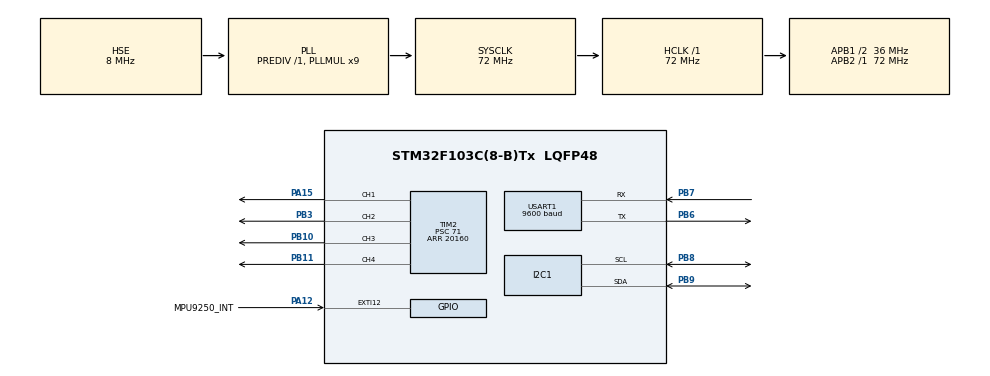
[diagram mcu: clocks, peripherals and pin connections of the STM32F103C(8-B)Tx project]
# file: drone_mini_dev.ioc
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I2C1.I2C_Mode=I2C_Fast
I2C1.OwnAddress=0x68
Mcu.Family=STM32F1
Mcu.Name=STM32F103C(8-B)Tx
Mcu.Package=LQFP48
NVIC.EXTI15_10_IRQn=true\:0\:0\:false\:false\:true\:true\:true\:true
NVIC.PriorityGroup=NVIC_PRIORITYGROUP_4
NVIC.USART1_IRQn=true\:0\:0\:false\:false\:true\:true\:true\:true
PA12.GPIO_Label=MPU9250_INT
PA12.GPIO_ModeDefaultEXTI=GPIO_MODE_IT_RISING
PA12.Signal=GPXTI12
PA13.Mode=Serial_Wire
PA13.Signal=SYS_JTMS-SWDIO
PA14.Mode=Serial_Wire
PA14.Signal=SYS_JTCK-SWCLK
PA15.Signal=S_TIM2_CH1_ETR
PB10.Signal=S_TIM2_CH3
PB11.Signal=S_TIM2_CH4
PB3.Signal=S_TIM2_CH2
PB6.Mode=Asynchronous
PB6.Signal=USART1_TX
PB7.Mode=Asynchronous
PB7.Signal=USART1_RX
PB8.Mode=I2C
PB8.Signal=I2C1_SCL
PB9.Mode=I2C
PB9.Signal=I2C1_SDA
PD0-OSC_IN.Mode=HSE-External-Oscillator
PD0-OSC_IN.Signal=RCC_OSC_IN
PD1-OSC_OUT.Mode=HSE-External-Oscillator
PD1-OSC_OUT.Signal=RCC_OSC_OUT
ProjectManager.HeapSize=0x200
ProjectManager.StackSize=0x400
ProjectManager.TargetToolchain=STM32CubeIDE
RCC.AHBFreq_Value=72000000
RCC.APB1CLKDivider=RCC_HCLK_DIV2
RCC.APB1Freq_Value=36000000
RCC.APB1TimFreq_Value=72000000
RCC.APB2Freq_Value=72000000
RCC.APB2TimFreq_Value=72000000
RCC.HCLKFreq_Value=72000000
RCC.PLLMUL=RCC_PLL_MUL9
RCC.PLLSourceVirtual=RCC_PLLSOURCE_HSE
RCC.SYSCLKFreq_VALUE=72000000
RCC.SYSCLKSource=RCC_SYSCLKSOURCE_PLLCLK
RCC.USBFreq_Value=72000000
SH.S_TIM2_CH1_ETR.0=TIM2_CH1,PWM Generation1 CH1
SH.S_TIM2_CH2.0=TIM2_CH2,PWM Generation2 CH2
SH.S_TIM2_CH3.0=TIM2_CH3,PWM Generation3 CH3
SH.S_TIM2_CH4.0=TIM2_CH4,PWM Generation4 CH4
TIM2.AutoReloadPreload=TIM_AUTORELOAD_PRELOAD_ENABLE
TIM2.Channel-PWM\ Generation1\ CH1=TIM_CHANNEL_1
TIM2.Channel-PWM\ Generation2\ CH2=TIM_CHANNEL_2
TIM2.Channel-PWM\ Generation3\ CH3=TIM_CHANNEL_3
TIM2.Channel-PWM\ Generation4\ CH4=TIM_CHANNEL_4
TIM2.Period=20160
TIM2.Prescaler=71
USART1.BaudRate=9600
USART1.VirtualMode=VM_ASYNC
VP_TIM2_VS_ClockSourceINT.Mode=Internal
board=custom

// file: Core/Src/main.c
/* USER CODE BEGIN Header */
/**
  ******************************************************************************
  * @file           : main.c
  * @brief          : Main program body
  ******************************************************************************
  * @attention
  *
  * Copyright (c) 2024 STMicroelectronics.
  * All rights reserved.
  *
  * This software is licensed under terms that can be found in the LICENSE file
  * in the root directory of this software component.
  * If no LICENSE file comes with this software, it is provided AS-IS.
  *
  ******************************************************************************
  */
/* USER CODE END Header */
#include "main.h"

/* USER CODE BEGIN Includes */
#include <math.h>
#include <stdio.h>
#include <string.h>

/* USER CODE END Includes */

/* USER CODE BEGIN PTD */

enum e_transfer_status
{
	E_NOT_READY_FOR_TRANSFER,
	E_READY_FOR_TRANSFER,
}typedef e_transfer_status;

/* USER CODE END PTD */

/* USER CODE BEGIN PM */

// MPU9250 I2C address
#define MPU9250_ADDRESS 0x68 << 1  // Shifted left to match HAL API requirements

// MPU9250 Register Addresses
#define MPU9250_WHO_AM_I 0x75
#define MPU9250_PWR_MGMT_1 0x6B
#define MPU9250_ACCEL_XOUT_H 0x3B
#define MPU9250_GYRO_XOUT_H 0x43
#define MPU9250_TEMP_OUT_H 0x41

// Configuration registers
#define MPU9250_CONFIG            0x1A
#define MPU9250_GYRO_CONFIG       0x1B
#define MPU9250_ACCEL_CONFIG      0x1C
#define MPU9250_ACCEL_CONFIG_2    0x1D
#define MPU9250_CONFIG            0x1A
#define MPU9250_GYRO_CONFIG       0x1B
#define MPU9250_ACCEL_CONFIG_2    0x1D

// Configuration values
#define DLPF_CFG_184HZ            0x01  // Low pass filter set to 184Hz
#define GYRO_FS_SEL_250DPS        0x00  // Gyro full scale range set to ±250 degrees per second
#define ACCEL_FS_SEL_2G           0x00  // Accelerometer full scale range set to ±2g
#define ACCEL_DLPF_184HZ          0x01  // Accelerometer low pass filter set to 184Hz

// DLPF configuration values
#define DLPF_CFG_5HZ              0x06  // Low pass filter set to 5Hz for gyro
#define ACCEL_DLPF_CFG_5HZ        0x06  // Low pass filter set to 5Hz for accel

#define DLPF_CFG_20HZ             0x04  // Low pass filter set to 20Hz for gyro
#define ACCEL_DLPF_CFG_20HZ       0x04  // Low pass filter set to 20Hz for accel

#define MPU9250_INT_ENABLE         0x38
#define MPU9250_INT_PIN_CFG        0x37
#define MPU9250_INT_DATA_RDY_BIT   0x01

// Define constants
#define RAD_TO_DEG 57.2957795131  // Convert radians to degrees

int16_t Accel_X, Accel_Y, Accel_Z;
int16_t Gyro_X, Gyro_Y, Gyro_Z;
int16_t Temperature;

float Roll = 0, Pitch = 0, Yaw = 0;

float Roll_filter = 0, Pitch_filter = 0, Yaw_filter = 0;

uint32_t prev_time = 0, curr_time = 0;
float dt = 0;
float g_elapsedTime = 0;

// PID
float roll_desire = 0, pitch_desire = 0, yaw_desire = 0;
float pid_roll = 0, pid_roll_p = 0, pid_roll_i = 0, pid_roll_d = 0;
float pid_pitch = 0, pid_pitch_p = 0, pid_pitch_i = 0, pid_pitch_d = 0;
float pid_yaw = 0, pid_yaw_p = 0, pid_yaw_i = 0, pid_yaw_d = 0;
int32_t pid_roll_previous_error = 0, pid_roll_error = 0;
int32_t pid_pitch_previous_error = 0, pid_pitch_error = 0;
int32_t pid_yaw_previous_error = 0, pid_yaw_error = 0;

float kp_roll=0.01;//3.55
float ki_roll=0.0002;//0.003
float kd_roll=0.01;//2.05

float kp_pitch=0.01;//3.55
float ki_pitch=0.0002;//0.003
float kd_pitch=0.01;//2.05

float kp_yaw=0.01;//3.55
float ki_yaw=0.0002;//0.003
float kd_yaw=0.01;//2.05

uint32_t throtle = 1050;

uint8_t start_calculate_pid = 0;

uint32_t m1 = 0, m2 = 0, m3 = 0, m4 = 0;

uint8_t receive_data[5] = {0};
uint8_t index_count_receive_data = 0;

char buffer[64];

/* USER CODE END PM */

I2C_HandleTypeDef hi2c1;

TIM_HandleTypeDef htim2;

UART_HandleTypeDef huart1;

void SystemClock_Config(void);
static void MX_GPIO_Init(void);
static void MX_I2C1_Init(void);
static void MX_TIM2_Init(void);
static void MX_USART1_UART_Init(void);

/* USER CODE BEGIN 0 */

void calculate_pid()
{
	if(throtle > 1150)
	{
		pid_roll_error  = Roll_filter - roll_desire;
		pid_pitch_error = Pitch_filter - pitch_desire;
		pid_yaw_error   = Yaw_filter - yaw_desire;

//		if((-0.25 < pid_roll_error) && (pid_roll_error < 0.25))
//		{
//			pid_roll_error = 0;
//		}
//
//		if((-0.25 < pid_pitch_error) && (pid_pitch_error < 0.25))
//		{
//			pid_pitch_error = 0;
//		}
//
//		if((-0.25 < pid_yaw_error) && (pid_yaw_error < 0.25))
//		{
//			pid_yaw_error = 0;
//		}

//		if((-0.5 <= pid_roll_error) && (pid_roll_error <= -0.5))
//		{
//			kp_roll = 0.07;
//			ki_roll = 0.001;
//			kd_roll = 0.05;
//		}
//		else if((-1 <= pid_roll_error) && (pid_roll_error <= 1))
//		{
//			kp_roll = 0.1;
//			ki_roll = 0.002;
//			kd_roll = 0.05;
//		}
//		else if((-2 <= pid_roll_error) && (pid_roll_error <= 2))
//		{
//			kp_roll = 0.3;
//			ki_roll = 0.005;
//			kd_roll = 0.15;
//		}
//		else if((-3 <= pid_roll_error) && (pid_roll_error <= 3))
//		{
//			kp_roll = 0.35;
//			ki_roll = 0.01;
//			kd_roll = 0.15;
//		}
//		else if((-4 <= pid_roll_error) && (pid_roll_error <= 4))
//		{
//			kp_roll = 0.4;
//			ki_roll = 0.01;
//			kd_roll = 0.2;
//		}
//		else if((-8 <= pid_roll_error) && (pid_roll_error <= 8))
//		{
//			kp_roll = 0.4;
//			ki_roll = 0.015;
//			kd_roll = 0.2;
//		}
//		else if((-10 <= pid_roll_error) && (pid_roll_error <= 10))
//		{
//			kp_roll = 0.5;
//			ki_roll = 0.02;
//			kd_roll = 0.25;
//		}
//		else if((-20 <= pid_roll_error) && (pid_roll_error <= 20))
//		{
//			kp_roll = 0.55;
//			ki_roll = 0.02;
//			kd_roll = 0.25;
//		}
//		else
//		{
//			kp_roll = 0.55;
//			ki_roll = 0.025;
//			kd_roll = 0.25;
//		}
//
//		if((-0.5 <= pid_pitch_error) && (pid_pitch_error <= -0.5))
//		{
//			kp_pitch = 0.07;
//			ki_pitch = 0.001;
//			kd_pitch = 0.05;
//		}
		 if((-1 <= pid_pitch_error) && (pid_pitch_error <= 1))
		{
			kp_pitch = 0.1;
			ki_pitch = 0.002;
			kd_pitch = 0.05;
		}
		else if((-2 <= pid_pitch_error) && (pid_pitch_error <= 2))
		{
			kp_pitch = 0.3;
			ki_pitch = 0.005;
			kd_pitch = 0.15;
		}
		else if((-3 <= pid_pitch_error) && (pid_pitch_error <= 3))
		{
			kp_pitch = 0.35;
			ki_pitch = 0.07;
			kd_pitch = 0.15;
		}
		else if((-4 <= pid_pitch_error) && (pid_pitch_error <= 4))
		{
			kp_pitch = 0.4;
			ki_pitch = 0.01;
			kd_pitch = 0.2;
		}
		else if((-8 <= pid_pitch_error) && (pid_pitch_error <= 8))
		{
			kp_pitch = 0.4;
			ki_pitch = 0.015;
			kd_roll = 0.2;
		}
		else if((-10 <= pid_pitch_error) && (pid_pitch_error <= 10))
		{
			kp_pitch = 0.5;
			ki_pitch = 0.02;
			kd_pitch = 0.25;
		}
		else if((-20 <= pid_pitch_error) && (pid_pitch_error <= 20))
		{
			kp_pitch = 0.55;
			ki_pitch = 0.025;
			kd_pitch = 0.25;
		}
		else
		{
			kp_pitch = 0.55;
			ki_pitch = 0.03;
			kd_pitch = 0.25;
		}

		if((-1 <= pid_yaw_error) && (pid_yaw_error <= 1))
		{
			kp_yaw = 0.1;
			ki_yaw = 0.003;
			kd_yaw = 0.05;
		}
		else if((-2 <= pid_yaw_error) && (pid_yaw_error <= 2))
		{
			kp_yaw = 0.3;
			ki_yaw = 0.005;
			kd_yaw = 0.15;
		}
		else if((-3 <= pid_yaw_error) && (pid_yaw_error <= 3))
		{
			kp_yaw = 0.35;
			ki_yaw = 0.005;
			kd_yaw = 0.15;
		}
		else if((-4 <= pid_yaw_error) && (pid_yaw_error <= 4))
		{
			kp_yaw = 0.4;
			ki_yaw = 0.005;
			kd_yaw = 0.2;
		}
		else if((-8 <= pid_yaw_error) && (pid_yaw_error <= 8))
		{
			kp_yaw = 0.4;
			ki_yaw = 0.005;
			kd_yaw = 0.2;
		}
		else if((-10 <= pid_yaw_error) && (pid_yaw_error <= 10))
		{
			kp_yaw = 0.5;
			ki_yaw = 0.005;
			kd_yaw = 0.25;
		}
		else
		{
			kp_yaw = 0.55;
			ki_yaw = 0.005;
			kd_yaw = 0.25;
		}

		pid_roll_p  = kp_roll * pid_roll_error;
		pid_pitch_p = kp_pitch * pid_pitch_error;
		pid_yaw_p   = kp_yaw * pid_yaw_error;

	   float old_pid_roll_i = pid_roll_i;
	   pid_roll_i = pid_roll_i+(ki_roll*pid_roll_error);
	   if(pid_roll_i > 0)
	   {
		   if((throtle + pid_roll_i) > 2000)
		   {
			   pid_roll_i = old_pid_roll_i;
		   }
	   }
	   else
	   {
		   if((throtle - pid_roll_i) < 1150)
		   {
			   pid_roll_i = old_pid_roll_i;
		   }
	   }

	   float old_pid_pitch_i = pid_pitch_i;
	   pid_pitch_i = pid_pitch_i+(ki_pitch*pid_pitch_error);

	   if(pid_pitch_i > 0)
	   {
		   if((throtle + pid_pitch_i) > 2000)
		   {
				pid_pitch_i = old_pid_pitch_i;
		   }
	   }
	   else
	   {
		   if((throtle - pid_pitch_i) < 1150)
		   {
				pid_pitch_i = old_pid_pitch_i;
		   }
	   }

	   pid_yaw_i = pid_yaw_i+(ki_yaw*pid_yaw_error);

		pid_roll_d = ki_roll*((pid_roll_error - pid_roll_previous_error)/dt);
		pid_pitch_d = ki_pitch*((pid_pitch_error - pid_pitch_previous_error)/dt);
		pid_yaw_d = ki_yaw*((pid_yaw_error - pid_yaw_previous_error)/dt);

		pid_roll  = pid_roll_p + pid_roll_i + pid_roll_d;
		pid_pitch = pid_pitch_p + pid_pitch_i + pid_pitch_d;
		pid_yaw   = pid_yaw_p + pid_yaw_i + pid_yaw_d;

		pid_roll_previous_error = pid_roll_error;
		pid_pitch_previous_error = pid_pitch_error;
		pid_yaw_previous_error = pid_yaw_error;
	}
	else
	{
		pid_roll_error  = 0;
		pid_pitch_error = 0;
		pid_yaw_error   = 0;
		pid_roll_previous_error = 0;
		pid_pitch_previous_error = 0;
		pid_yaw_previous_error = 0;

		pid_roll_p = 0;
		pid_roll_i = 0;
		pid_roll_d = 0;

		pid_pitch_p = 0;
		pid_pitch_i = 0;
		pid_pitch_d = 0;

		pid_yaw_p = 0;
		pid_yaw_i = 0;
		pid_yaw_d = 0;
	}
}

void SetBrushMotor()
{
  if(throtle > 1050)
  {
	  if(m1 <= 2000)
	  {
		m1 = throtle + pid_roll - pid_pitch;// + pid_yaw;
		if(m1 < 1050)
		{
			m1 = 1050;
		}
	  }
	  else
	  {
		  m1 = 2000;
	  }

	  if(m2 <= 2000)
	  {
		m2 = throtle + pid_roll + pid_pitch;// - pid_yaw;
		if(m2 < 1050)
		{
			m2 = 1050;
		}
	  }
	  else
	  {
		  m2 = 2000;
	  }

	  if(m3 <= 2000)
	  {
		m3 = throtle - pid_roll + pid_pitch;// - pid_yaw;;
		if(m3 < 1050)
		{
			m3 = 1050;
		}
	  }
	  else
	  {
		  m3 = 2000;
	  }

	  if(m4 <= 2000)
	  {
		m4 = throtle - pid_roll - pid_pitch;// + pid_yaw;
		if(m4 < 1050)
		{
			m4 = 1050;
		}
	  }
	  else
	  {
		  m4 = 2000;
	  }

  }

  else
  {
	  m1 = 1050;
	  m2 = 1050;
	  m3 = 1050;
	  m4 = 1050;

  }

  __HAL_TIM_SET_COMPARE(&htim2, TIM_CHANNEL_1, m1);
  __HAL_TIM_SET_COMPARE(&htim2, TIM_CHANNEL_2, m2);
  __HAL_TIM_SET_COMPARE(&htim2, TIM_CHANNEL_3, m3);
  __HAL_TIM_SET_COMPARE(&htim2, TIM_CHANNEL_4, m4);
}

void MPU9250_Init(void) {
    uint8_t data;

    // Wake up MPU9250 and set clock source
    data = 0x01;
    HAL_I2C_Mem_Write(&hi2c1, MPU9250_ADDRESS, MPU9250_PWR_MGMT_1, 1, &data, 1, 1000);

    // Configure DLPF for gyro to 5Hz
    data = DLPF_CFG_5HZ;
    HAL_I2C_Mem_Write(&hi2c1, MPU9250_ADDRESS, MPU9250_CONFIG, 1, &data, 1, 1000);

    // Set gyro full scale to ±250dps for lowest noise
    data = GYRO_FS_SEL_250DPS;
    HAL_I2C_Mem_Write(&hi2c1, MPU9250_ADDRESS, MPU9250_GYRO_CONFIG, 1, &data, 1, 1000);

    // Set accel full scale to ±2g for lowest noise
    data = ACCEL_FS_SEL_2G;
    HAL_I2C_Mem_Write(&hi2c1, MPU9250_ADDRESS, MPU9250_ACCEL_CONFIG, 1, &data, 1, 1000);

    // Configure DLPF for accel to 5Hz
    data = ACCEL_DLPF_CFG_5HZ;
    HAL_I2C_Mem_Write(&hi2c1, MPU9250_ADDRESS, MPU9250_ACCEL_CONFIG_2, 1, &data, 1, 1000);
}

void MPU9250_Read_Accel(int16_t *Accel_X, int16_t *Accel_Y, int16_t *Accel_Z) {
    uint8_t Rec_Data[6];

    // Read 6 bytes of data starting from ACCEL_XOUT_H register
    HAL_I2C_Mem_Read(&hi2c1, MPU9250_ADDRESS, MPU9250_ACCEL_XOUT_H, 1, Rec_Data, 6, 1000);

    // Convert the received data into 16-bit values
    *Accel_X = (int16_t)(Rec_Data[0] << 8 | Rec_Data[1]);
    *Accel_Y = (int16_t)(Rec_Data[2] << 8 | Rec_Data[3]);
    *Accel_Z = (int16_t)(Rec_Data[4] << 8 | Rec_Data[5]);
}

void MPU9250_Read_Gyro(int16_t *Gyro_X, int16_t *Gyro_Y, int16_t *Gyro_Z) {
    uint8_t Rec_Data[6];

    // Read 6 bytes of data starting from GYRO_XOUT_H register
    HAL_I2C_Mem_Read(&hi2c1, MPU9250_ADDRESS, MPU9250_GYRO_XOUT_H, 1, Rec_Data, 6, 1000);

    // Convert the received data into 16-bit values
    *Gyro_X = (int16_t)(Rec_Data[0] << 8 | Rec_Data[1]);
    *Gyro_Y = (int16_t)(Rec_Data[2] << 8 | Rec_Data[3]);
    *Gyro_Z = (int16_t)(Rec_Data[4] << 8 | Rec_Data[5]);
}

#define MPU_6050_FIFO 100
uint32_t filter_index = 0;
float Roll_filter_array[MPU_6050_FIFO] = {0}, Pitch_filter_array[MPU_6050_FIFO] = {0}, Yaw_filter_array[MPU_6050_FIFO] = {0};

void MPU9250_EnableInterrupt(void) {
    uint8_t data;

    // Configure the INT pin (active high, push-pull, latched until read)
    data = 0x10;
    HAL_I2C_Mem_Write(&hi2c1, MPU9250_ADDRESS, MPU9250_INT_PIN_CFG, 1, &data, 1, 1000);

    // Enable the data ready interrupt
    data = MPU9250_INT_DATA_RDY_BIT;
    HAL_I2C_Mem_Write(&hi2c1, MPU9250_ADDRESS, MPU9250_INT_ENABLE, 1, &data, 1, 1000);
}

float finding_value(float array[], int length)
{
   float min = array[0];
   float max = array[0];

   uint32_t count_min = 0, count_max = 0;

   for(uint8_t i = 1; i < length; i++)
   {
	   if (fabs(min) > fabs(array[i]))
	   {
		   min = array[i];
	   }

	   if (fabs(max) < fabs(array[i]))
	   {
		   max = array[i];
	   }
   }

   if((fabs(max) - fabs(min)) < 3)
   {
       return min;
   }
   else
   {
	   for(uint8_t i = 1; i < length; i++)
	   {
		   if((fabs(max) - fabs(array[i])) < 3)
		   {
		       count_max++;
		   }

		   if((fabs(array[i]) - fabs(min)) < 3)
		   {
			   count_min++;
		   }
	   }

	   if(count_max > count_min)
	   {
            return max;
	   }
	   else if (count_max < count_min)
	   {
            return min;
	   }
	   else
	   {
		   return (min+max)/2;
	   }
   }

}

void Calculate_Roll_Pitch_Yaw_CompFilter(int16_t Accel_X, int16_t Accel_Y, int16_t Accel_Z,
                                         int16_t Gyro_X, int16_t Gyro_Y, int16_t Gyro_Z,
                                         float *roll, float *pitch, float *yaw, float dt)
{

    // Convert accelerometer readings to g units
    float ax = Accel_X / 16384.0;  // Assuming FS_SEL = ±2g
    float ay = Accel_Y / 16384.0;
    float az = Accel_Z / 16384.0;

    // Convert gyroscope readings to degrees per second
    float gx = Gyro_X / 131.0;  // Assuming FS_SEL = ±250 degrees/s
    float gy = Gyro_Y / 131.0;
    float gz = Gyro_Z / 131.0;

    // Calculate roll and pitch using accelerometer data
    float accel_roll  = atan2(ay, az) * RAD_TO_DEG;
    float accel_pitch = atan2(-ax, sqrt(ay * ay + az * az)) * RAD_TO_DEG;

    // Integrate gyroscope data to calculate roll, pitch, and yaw
    *roll = 0.98 * (*roll + gx * dt) + 0.02 * accel_roll;
    *pitch = 0.98 * (*pitch + gy * dt) + 0.02 * accel_pitch;
    *yaw += gz * dt;

    Roll_filter_array[filter_index%MPU_6050_FIFO] = *roll;
    Pitch_filter_array[filter_index%MPU_6050_FIFO] = *pitch;
    Yaw_filter_array[filter_index%MPU_6050_FIFO] = *yaw;
    filter_index++;
}
void Validate_Roll_Pitch_Yaw()
{
	Roll_filter = finding_value(Roll_filter_array, MPU_6050_FIFO);
	Pitch_filter = finding_value(Pitch_filter_array, MPU_6050_FIFO);
	Yaw_filter = finding_value(Yaw_filter_array, MPU_6050_FIFO);
}

void HAL_GPIO_EXTI_Callback(uint16_t GPIO_Pin) {
	HAL_NVIC_DisableIRQ(EXTI15_10_IRQn);;
    if (GPIO_Pin == MPU9250_INT_Pin) {

        dt = (curr_time - prev_time) / 1000.0;  // Calculate delta time in seconds
        prev_time = curr_time;

        // Read accelerometer and gyroscope data
        MPU9250_Read_Accel(&Accel_X, &Accel_Y, &Accel_Z);
        MPU9250_Read_Gyro(&Gyro_X, &Gyro_Y, &Gyro_Z);

        // Apply the complementary filter
        Calculate_Roll_Pitch_Yaw_CompFilter(Accel_X, Accel_Y, Accel_Z, Gyro_X, Gyro_Y, Gyro_Z, &Roll, &Pitch, &Yaw, dt);

        start_calculate_pid = 1;
    }
}

e_transfer_status ready_to_convert = E_NOT_READY_FOR_TRANSFER;
void HAL_UART_RxCpltCallback(UART_HandleTypeDef *huart)
{
	index_count_receive_data+=5;
    ready_to_convert = E_READY_FOR_TRANSFER;
}

void converdata()
{
    if(ready_to_convert == E_READY_FOR_TRANSFER)
    {

    	ready_to_convert = E_NOT_READY_FOR_TRANSFER;

    	if(receive_data[0] == 'u')
    	{
    		throtle = (receive_data[1] - 48)*1000 + (receive_data[2] - 48)*100 + (receive_data[3] - 48) * 10 + (receive_data[4] - 48);
    	}
        HAL_UART_Receive_IT(&huart1, (uint8_t *)&receive_data, 5);
    }
}

void UART_Print(const char* str)
{
    HAL_UART_Transmit_IT(&huart1, (uint8_t*)str, strlen(str));
}

/* USER CODE END 0 */

int main(void)
{

  /* MCU Configuration--------------------------------------------------------*/

  /* Reset of all peripherals, Initializes the Flash interface and the Systick. */
  HAL_Init();

  /* Configure the system clock */
  SystemClock_Config();

  /* Initialize all configured peripherals */
  MX_GPIO_Init();
  MX_I2C1_Init();
  MX_TIM2_Init();
  MX_USART1_UART_Init();
  /* USER CODE BEGIN 2 */

  prev_time = HAL_GetTick();
  MPU9250_Init();
  MPU9250_EnableInterrupt();

  HAL_UART_Receive_IT(&huart1, &receive_data[index_count_receive_data], 5);
  HAL_UART_Transmit_IT(&huart1, (uint8_t *) "ready\n", 6);

  HAL_TIM_PWM_Start(&htim2, TIM_CHANNEL_1);
  HAL_TIM_PWM_Start(&htim2, TIM_CHANNEL_2);
  HAL_TIM_PWM_Start(&htim2, TIM_CHANNEL_3);
  HAL_TIM_PWM_Start(&htim2, TIM_CHANNEL_4);
  __HAL_TIM_SET_COMPARE(&htim2, TIM_CHANNEL_1, 1050);
  __HAL_TIM_SET_COMPARE(&htim2, TIM_CHANNEL_2, 1050);
  __HAL_TIM_SET_COMPARE(&htim2, TIM_CHANNEL_3, 1050);
  __HAL_TIM_SET_COMPARE(&htim2, TIM_CHANNEL_4, 1050);

  /* USER CODE END 2 */

  /* Infinite loop */
  while (1)
  {

    /* USER CODE BEGIN 3 */
      curr_time = HAL_GetTick();
      converdata();
      if(start_calculate_pid == 1)
      {
          // Use the roll, pitch, and yaw filter values as needed
          Validate_Roll_Pitch_Yaw();
    	  calculate_pid();
    	  SetBrushMotor();
    	  start_calculate_pid = 0;

		  g_elapsedTime += dt;
		  if(g_elapsedTime > 0.05f)
		  {
			  g_elapsedTime = 0;
			  snprintf(buffer, sizeof(buffer), "Roll: %d Pitch: %d Yaw: %d\n", (int) Roll_filter, (int) Pitch_filter, (int)Yaw_filter);
			  UART_Print(buffer);
		  }
    	  HAL_NVIC_EnableIRQ(EXTI15_10_IRQn);;
      }
  }
  /* USER CODE END 3 */
}

void SystemClock_Config(void)
{
  RCC_OscInitTypeDef RCC_OscInitStruct = {0};
  RCC_ClkInitTypeDef RCC_ClkInitStruct = {0};

  /** Initializes the RCC Oscillators according to the specified parameters
  * in the RCC_OscInitTypeDef structure.
  */
  RCC_OscInitStruct.OscillatorType = RCC_OSCILLATORTYPE_HSE;
  RCC_OscInitStruct.HSEState = RCC_HSE_ON;
  RCC_OscInitStruct.HSEPredivValue = RCC_HSE_PREDIV_DIV1;
  RCC_OscInitStruct.HSIState = RCC_HSI_ON;
  RCC_OscInitStruct.PLL.PLLState = RCC_PLL_ON;
  RCC_OscInitStruct.PLL.PLLSource = RCC_PLLSOURCE_HSE;
  RCC_OscInitStruct.PLL.PLLMUL = RCC_PLL_MUL9;
  if (HAL_RCC_OscConfig(&RCC_OscInitStruct) != HAL_OK)
  {
    Error_Handler();
  }

  /** Initializes the CPU, AHB and APB buses clocks
  */
  RCC_ClkInitStruct.ClockType = RCC_CLOCKTYPE_HCLK|RCC_CLOCKTYPE_SYSCLK
                              |RCC_CLOCKTYPE_PCLK1|RCC_CLOCKTYPE_PCLK2;
  RCC_ClkInitStruct.SYSCLKSource = RCC_SYSCLKSOURCE_PLLCLK;
  RCC_ClkInitStruct.AHBCLKDivider = RCC_SYSCLK_DIV1;
  RCC_ClkInitStruct.APB1CLKDivider = RCC_HCLK_DIV2;
  RCC_ClkInitStruct.APB2CLKDivider = RCC_HCLK_DIV1;

  if (HAL_RCC_ClockConfig(&RCC_ClkInitStruct, FLASH_LATENCY_2) != HAL_OK)
  {
    Error_Handler();
  }
}

static void MX_I2C1_Init(void)
{

  hi2c1.Instance = I2C1;
  hi2c1.Init.ClockSpeed = 400000;
  hi2c1.Init.DutyCycle = I2C_DUTYCYCLE_2;
  hi2c1.Init.OwnAddress1 = 208;
  hi2c1.Init.AddressingMode = I2C_ADDRESSINGMODE_7BIT;
  hi2c1.Init.DualAddressMode = I2C_DUALADDRESS_DISABLE;
  hi2c1.Init.OwnAddress2 = 0;
  hi2c1.Init.GeneralCallMode = I2C_GENERALCALL_DISABLE;
  hi2c1.Init.NoStretchMode = I2C_NOSTRETCH_DISABLE;
  if (HAL_I2C_Init(&hi2c1) != HAL_OK)
  {
    Error_Handler();
  }

}

static void MX_TIM2_Init(void)
{

  TIM_ClockConfigTypeDef sClockSourceConfig = {0};
  TIM_MasterConfigTypeDef sMasterConfig = {0};
  TIM_OC_InitTypeDef sConfigOC = {0};

  htim2.Instance = TIM2;
  htim2.Init.Prescaler = 71;
  htim2.Init.CounterMode = TIM_COUNTERMODE_UP;
  htim2.Init.Period = 20160;
  htim2.Init.ClockDivision = TIM_CLOCKDIVISION_DIV1;
  htim2.Init.AutoReloadPreload = TIM_AUTORELOAD_PRELOAD_ENABLE;
  if (HAL_TIM_Base_Init(&htim2) != HAL_OK)
  {
    Error_Handler();
  }
  sClockSourceConfig.ClockSource = TIM_CLOCKSOURCE_INTERNAL;
  if (HAL_TIM_ConfigClockSource(&htim2, &sClockSourceConfig) != HAL_OK)
  {
    Error_Handler();
  }
  if (HAL_TIM_PWM_Init(&htim2) != HAL_OK)
  {
    Error_Handler();
  }
  sMasterConfig.MasterOutputTrigger = TIM_TRGO_RESET;
  sMasterConfig.MasterSlaveMode = TIM_MASTERSLAVEMODE_DISABLE;
  if (HAL_TIMEx_MasterConfigSynchronization(&htim2, &sMasterConfig) != HAL_OK)
  {
    Error_Handler();
  }
  sConfigOC.OCMode = TIM_OCMODE_PWM1;
  sConfigOC.Pulse = 0;
  sConfigOC.OCPolarity = TIM_OCPOLARITY_HIGH;
  sConfigOC.OCFastMode = TIM_OCFAST_DISABLE;
  if (HAL_TIM_PWM_ConfigChannel(&htim2, &sConfigOC, TIM_CHANNEL_1) != HAL_OK)
  {
    Error_Handler();
  }
  if (HAL_TIM_PWM_ConfigChannel(&htim2, &sConfigOC, TIM_CHANNEL_2) != HAL_OK)
  {
    Error_Handler();
  }
  if (HAL_TIM_PWM_ConfigChannel(&htim2, &sConfigOC, TIM_CHANNEL_3) != HAL_OK)
  {
    Error_Handler();
  }
  if (HAL_TIM_PWM_ConfigChannel(&htim2, &sConfigOC, TIM_CHANNEL_4) != HAL_OK)
  {
    Error_Handler();
  }
  HAL_TIM_MspPostInit(&htim2);

}

static void MX_USART1_UART_Init(void)
{

  huart1.Instance = USART1;
  huart1.Init.BaudRate = 9600;
  huart1.Init.WordLength = UART_WORDLENGTH_8B;
  huart1.Init.StopBits = UART_STOPBITS_1;
  huart1.Init.Parity = UART_PARITY_NONE;
  huart1.Init.Mode = UART_MODE_TX_RX;
  huart1.Init.HwFlowCtl = UART_HWCONTROL_NONE;
  huart1.Init.OverSampling = UART_OVERSAMPLING_16;
  if (HAL_UART_Init(&huart1) != HAL_OK)
  {
    Error_Handler();
  }

}

static void MX_GPIO_Init(void)
{
  GPIO_InitTypeDef GPIO_InitStruct = {0};

  /* GPIO Ports Clock Enable */
  __HAL_RCC_GPIOD_CLK_ENABLE();
  __HAL_RCC_GPIOB_CLK_ENABLE();
  __HAL_RCC_GPIOA_CLK_ENABLE();

  /*Configure GPIO pin : MPU9250_INT_Pin */
  GPIO_InitStruct.Pin = MPU9250_INT_Pin;
  GPIO_InitStruct.Mode = GPIO_MODE_IT_RISING;
  GPIO_InitStruct.Pull = GPIO_NOPULL;
  HAL_GPIO_Init(MPU9250_INT_GPIO_Port, &GPIO_InitStruct);

  /* EXTI interrupt init*/
  HAL_NVIC_SetPriority(EXTI15_10_IRQn, 0, 0);
  HAL_NVIC_EnableIRQ(EXTI15_10_IRQn);

}

void Error_Handler(void)
{
  __disable_irq();
  while (1)
  {
  }
}
